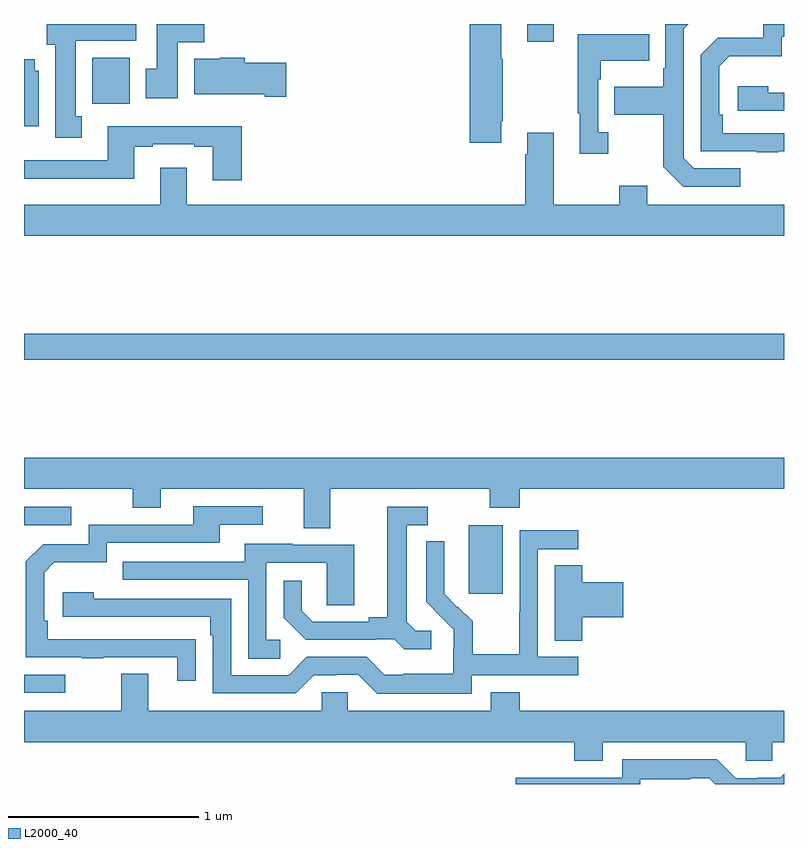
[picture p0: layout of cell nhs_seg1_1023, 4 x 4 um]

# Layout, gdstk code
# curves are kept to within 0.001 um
import gdstk
lib = gdstk.Library(unit=1e-6, precision=1e-09)
def R(c, l, rs):  # rectangles x0, y0, x1, y1
    for r in rs: c.add(gdstk.rectangle(r[:2], r[2:], *l))
def P(c, l, *ps):  # polygons
    for p in ps: c.add(gdstk.Polygon(p, *l))
L2000_40 = (2000, 40)

nhs_seg1_1023 = lib.new_cell('nhs_seg1_1023')
R(nhs_seg1_1023, L2000_40, [(167,530.679,167.218,530.775), (169.34,531.201,169.519,531.562), (167,531.561,167.248,531.657), (167,532.432,171,532.568), (167.36,533.78,167.557,534.022), (169.649,534.105,169.789,534.199)])
P(nhs_seg1_1023, L2000_40, [(167.809,534.104),(167.948,534.104),(167.948,534.199),(167.699,534.199),(167.699,533.964),(167.642,533.964),(167.642,533.808),(167.809,533.808)],
  [(170.77,533.439),(170.526,533.439),(170.472,533.493),(170.472,534.174),(170.497,534.199),(170.376,534.199),(170.376,533.965),(170.364,533.965),(170.364,533.869),(170.107,533.869),(170.107,533.722),(170.364,533.722),(170.364,533.449),(170.469,533.343),(170.77,533.343)],
  [(170.969,533.529),(171,533.529),(171,533.625),(170.678,533.625),(170.678,533.722),(170.658,533.722),(170.658,533.976),(170.711,534.029),(170.988,534.029),(170.988,534.132),(171,534.132),(171,534.199),(170.892,534.199),(170.892,534.126),(170.652,534.126),(170.562,534.036),(170.562,533.529),(170.857,533.529),(170.857,533.524),(170.969,533.524)],
  [(169.513,533.686),(169.521,533.686),(169.521,534.017),(169.513,534.017),(169.513,534.199),(169.346,534.199),(169.346,533.574),(169.513,533.574)],
  [(167.305,533.714),(167.272,533.714),(167.272,534.11),(167.59,534.11),(167.59,534.199),(167.12,534.199),(167.12,534.09),(167.165,534.09),(167.165,533.601),(167.305,533.601)],
  [(170.074,533.63),(170.022,533.63),(170.022,533.909),(170.035,533.909),(170.035,534.005),(170.291,534.005),(170.291,534.145),(169.914,534.145),(169.914,533.729),(169.925,533.729),(169.925,533.517),(170.074,533.517)],
  [(168.379,533.994),(168.161,533.994),(168.161,534.022),(168.03,534.022),(168.03,534.016),(167.897,534.016),(167.897,533.828),(168.266,533.828),(168.266,533.816),(168.379,533.816)],
  [(167.077,533.952),(167.056,533.952),(167.056,534.013),(167,534.013),(167,533.66),(167.077,533.66)],
  [(171,533.838),(170.918,533.838),(170.918,533.872),(170.757,533.872),(170.757,533.742),(171,533.742)],
  [(168.146,533.662),(167.441,533.662),(167.441,533.481),(167,533.481),(167,533.384),(167.581,533.384),(167.581,533.553),(167.677,533.553),(167.677,533.565),(167.897,533.565),(167.897,533.553),(167.993,533.553),(167.993,533.376),(168.146,533.376)],
  [(171,533.248),(170.281,533.248),(170.281,533.347),(170.134,533.347),(170.134,533.248),(169.789,533.248),(169.789,533.626),(169.649,533.626),(169.649,533.513),(169.637,533.513),(169.637,533.248),(167.857,533.248),(167.857,533.443),(167.717,533.443),(167.717,533.248),(167,533.248),(167,533.084),(171,533.084)],
  [(168.613,531.752),(169.45,531.752),(169.45,531.653),(169.61,531.653),(169.61,531.752),(171,531.752),(171,531.916),(167,531.916),(167,531.752),(167.572,531.752),(167.572,531.653),(167.719,531.653),(167.719,531.752),(168.473,531.752),(168.473,531.544),(168.613,531.544)],
  [(167.903,530.96),(167.126,530.961),(167.126,531.058),(167.106,531.058),(167.106,531.312),(167.159,531.365),(167.436,531.365),(167.436,531.468),(168.031,531.468),(168.031,531.564),(168.256,531.564),(168.256,531.66),(167.891,531.66),(167.891,531.564),(167.34,531.564),(167.34,531.462),(167.1,531.462),(167.01,531.372),(167.01,530.865),(167.305,530.865),(167.305,530.86),(167.417,530.86),(167.417,530.865),(167.807,530.865),(167.807,530.742),(167.903,530.742)],
  [(169.144,531.006),(169.062,531.006),(169.015,531.053),(169.015,531.561),(169.126,531.561),(169.126,531.657),(168.911,531.657),(168.911,531.077),(168.815,531.077),(168.815,531.054),(168.52,531.054),(168.463,531.111),(168.463,531.268),(168.366,531.268),(168.366,531.074),(168.482,530.958),(168.854,530.958),(168.854,530.961),(168.948,530.961),(169,530.909),(169.144,530.909)],
  [(169.356,530.772),(169.918,530.772),(169.918,530.868),(169.704,530.868),(169.704,531.435),(169.918,531.435),(169.918,531.534),(169.608,531.534),(169.608,531.104),(169.606,531.104),(169.606,530.881),(169.361,530.881),(169.361,531.055),(169.284,531.132),(169.281,531.129),(169.211,531.2),(169.212,531.476),(169.116,531.476),(169.116,531.158),(169.262,531.01),(169.262,530.913),(169.26,530.913),(169.26,530.779),(168.997,530.779),(168.997,530.775),(168.897,530.775),(168.804,530.868),(168.489,530.868),(168.393,530.772),(168.09,530.772),(168.09,531.174),(167.366,531.174),(167.366,531.208),(167.205,531.208),(167.205,531.078),(167.981,531.078),(167.981,530.981),(167.994,530.981),(167.994,530.676),(168.429,530.676),(168.525,530.772),(168.644,530.772),(168.644,530.775),(168.759,530.775),(168.859,530.675),(169.356,530.675)],
  [(168.349,530.958),(168.276,530.958),(168.276,531.363),(168.594,531.363),(168.594,531.139),(168.739,531.139),(168.739,531.459),(168.415,531.459),(168.415,531.463),(168.161,531.463),(168.161,531.369),(167.521,531.369),(167.521,531.273),(168.18,531.273),(168.18,530.857),(168.349,530.857)],
  [(169.937,531.077),(170.155,531.077),(170.155,531.26),(169.937,531.26),(169.937,531.35),(169.793,531.35),(169.793,530.953),(169.937,530.953)],
  [(170.047,530.42),(170.799,530.42),(170.799,530.322),(170.937,530.322),(170.937,530.42),(171,530.42),(171,530.584),(169.61,530.584),(169.61,530.683),(169.457,530.683),(169.457,530.584),(168.705,530.584),(168.705,530.682),(168.567,530.682),(168.567,530.584),(167.653,530.584),(167.653,530.779),(167.513,530.779),(167.513,530.584),(167,530.584),(167,530.42),(169.895,530.42),(169.895,530.321),(170.047,530.321)],
  [(170.244,530.225),(170.507,530.225),(170.507,530.229),(170.607,530.229),(170.637,530.199),(171,530.199),(171,530.253),(170.979,530.232),(170.861,530.232),(170.861,530.229),(170.745,530.229),(170.645,530.329),(170.148,530.329),(170.148,530.232),(169.587,530.232),(169.587,530.199),(170.244,530.199)])

lib.write_gds('nhs_seg1_1023.gds')
